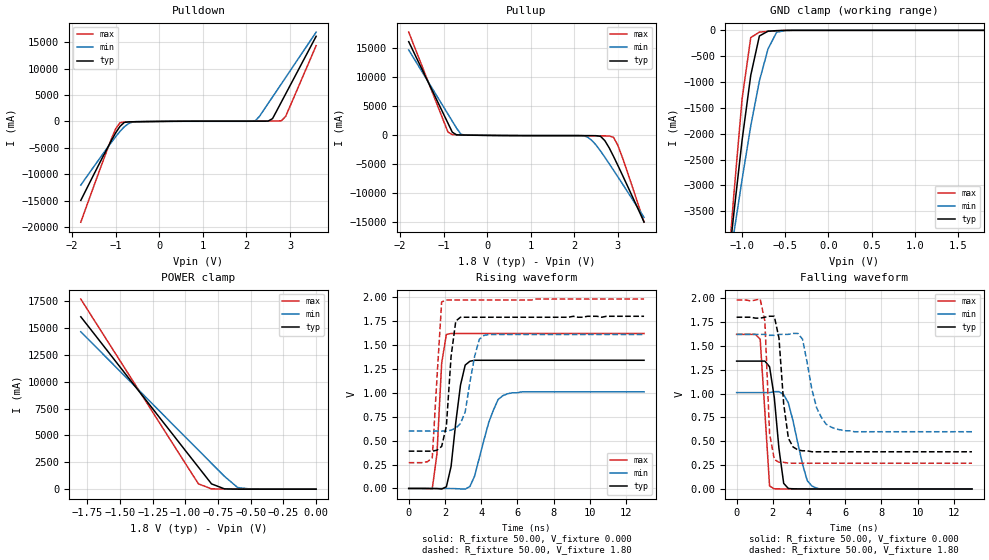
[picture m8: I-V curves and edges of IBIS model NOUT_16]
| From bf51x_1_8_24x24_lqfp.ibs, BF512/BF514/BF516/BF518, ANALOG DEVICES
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|   Model prw1216hcdg_25
[Model]   NOUT_16
Model_type   I/O
Polarity   Non-Inverting
Enable   Active-Low
Vinl =   0.70V
Vinh =   1.00V
Vmeas =   1.20V
Cref =  50.00pF
Rref =   1.00M
Vref =  0.000V
C_comp   5.70pF   5.36pF   6.08pF
[Temperature Range]   25.00   0.12k   -40.00
[Voltage Range]   1.80V   1.62V   1.98V
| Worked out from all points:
|   slope of the pulldown table from 0 to 0.27 V, typ, clamps not added: 13 ohm
|   slope of the pullup table from 0 to 0.27 V, typ, clamps not added: 15 ohm
|   GND clamp passes 1 mA (typ) near -0.48 V on its own axis
|   POWER clamp passes 1 mA (typ) near -0.48 V on its own axis
|   rising waveform, R_fixture 50.00, V_fixture 0.000: 20-80 % time 493ps typ, 917ps min, 282ps max; typ from 0 V to 1.34 V
|   rising waveform, R_fixture 50.00, V_fixture 1.80: 20-80 % time 349ps typ, 559ps min, 327ps max; typ from 0.39 V to 1.8 V
|   falling waveform, R_fixture 50.00, V_fixture 0.000: 20-80 % time 460ps typ, 742ps min, 328ps max; typ from 1.34 V to 0 V
|   falling waveform, R_fixture 50.00, V_fixture 1.80: 20-80 % time 394ps typ, 739ps min, 226ps max; typ from 1.8 V to 0.39 V
[Pulldown]
| voltage   I(typ)   I(min)   I(max)
-1.8V     -14.92A    -12.03A    -19.04A
-1.1V     -3.64A     -3.97A     -3.34A
-1V       -2.16A     -2.89A     -1.41A
-900mV    -930mA     -1.87A     -240mA
-800mV    -180mA     -1A        -130mA
-600mV    -64.01mA   -67.76mA   -92.9mA
2.2V      44.7mA     110mA      77.15mA
2.5V      67.37mA    3.41A      79.69mA
2.6V      540mA      4.63A      85.4mA
2.8V      3.64A      7.08A      110mA
2.9V      5.19A      8.3A       950mA
3.6V      16.09A     16.88A     14.32A
[Pullup]
| voltage   I(typ)   I(min)   I(max)
-1.8V     16.16A     14.74A     17.82A
-900mV    2.11A      3.68A      580mA
-800mV    550mA      2.45A      120mA
-600mV    60.32mA    190mA      79.88mA
-500mV    47.34mA    42.04mA    63.43mA
2.3V      -42.64mA   -280mA     -66.43mA
2.6V      -160mA     -2.69A     -77.37mA
2.7V      -910mA     -3.77A     -89.42mA
2.9V      -3.64A     -6.02A     -350mA
3V        -5.2A      -7.17A     -1.74A
3.1V      -6.8A      -8.32A     -3.75A
3.6V      -14.96A    -14.16A    -14.98A
[GND_clamp]
| voltage   I(typ)   I(min)   I(max)
-1.8V     -14.92A    -12.03A    -19.04A
-1.2V     -5.16A     -5.09A     -5.42A
-1.1V     -3.6A      -3.97A     -3.26A
-1V       -2.12A     -2.88A     -1.32A
-900mV    -870mA     -1.85A     -140mA
-800mV    -110mA     -980mA     -34.24mA
-700mV    -16.23mA   -360mA     -19.78mA
-600mV    -5.92mA    -36.57mA   -8.54mA
-500mV    -1.29mA    -3.72mA    -1.78mA
-400mV    -110uA     -320uA     -100uA
1.8V      320pA      2.9uA      -3.22uA
[POWER_clamp]
| voltage   I(typ)   I(min)   I(max)
-1.8V     16.04A     14.65A     17.69A
-900mV    2.04A      3.63A      490mA
-800mV    490mA      2.4A       29.17mA
-700mV    22.68mA    1.18A      14.92mA
-600mV    5.17mA     150mA      6.63mA
-500mV    1.28mA     9.51mA     1.68mA
0V        320pA      6.02nA     -44.88pA
[Ramp]
| variable   typ   min   max
dV/dt_r   0.81/0.49n   0.61/0.93n   0.98/0.27n
dV/dt_f   0.85/0.36n   0.61/0.72n   1.03/0.21n
R_load = 50.00
[Rising Waveform]
R_fixture = 50.00
V_fixture = 0.000
V_fixture_min = 0.000
V_fixture_max = 0.000
L_fixture = 0.000H
C_fixture = 0.000F
| time   V(typ)   V(min)   V(max)
0s        0V         0V         0V
1.3ns     -560uV     22.46uV    -4.14mV
1.56ns    -1.6mV     3.35uV     360mV
1.82ns    -5.76mV    -120uV     1.31V
2.08ns    17.56mV    -440uV     1.61V
2.34ns    230mV      -1mV       1.62V
2.86ns    1.08V      -4.61mV    1.62V
3.38ns    1.33V      20.08mV    1.62V
5.2ns     1.34V      970mV      1.62V
13ns      1.34V      1.01V      1.62V
[Rising Waveform]
R_fixture = 50.00
V_fixture = 1.80
V_fixture_min = 1.62
V_fixture_max = 1.98
L_fixture = 0.000H
C_fixture = 0.000F
| time   V(typ)   V(min)   V(max)
0s        390mV      600mV      270mV
1.3ns     390mV      600mV      320mV
1.82ns    440mV      600mV      1.95V
2.08ns    650mV      600mV      1.97V
2.34ns    1.38V      610mV      1.97V
2.6ns     1.75V      630mV      1.97V
2.86ns    1.79V      680mV      1.97V
3.64ns    1.79V      1.38V      1.97V
4.16ns    1.79V      1.6V       1.97V
13ns      1.8V       1.61V      1.98V
[Falling Waveform]
R_fixture = 50.00
V_fixture = 0.000
V_fixture_min = 0.000
V_fixture_max = 0.000
L_fixture = 0.000H
C_fixture = 0.000F
| time   V(typ)   V(min)   V(max)
0s        1.34V      1.01V      1.62V
1.3ns     1.34V      1.01V      1.57V
1.82ns    1.28V      1.01V      30.53mV
2.08ns    960mV      1.02V      1.96mV
2.34ns    420mV      1.02V      1.24mV
2.6ns     58.55mV    990mV      690uV
2.86ns    4.89mV     900mV      180uV
3.9ns     320uV      87.7mV     59.09uV
4.42ns    110uV      8.21mV     56.58uV
13ns      25.78uV    26.07uV    7.33uV
[Falling Waveform]
R_fixture = 50.00
V_fixture = 1.80
V_fixture_min = 1.62
V_fixture_max = 1.98
L_fixture = 0.000H
C_fixture = 0.000F
| time   V(typ)   V(min)   V(max)
0s        1.8V       1.62V      1.98V
1.3ns     1.79V      1.62V      1.99V
1.56ns    1.8V       1.62V      1.76V
1.82ns    1.81V      1.61V      580mV
2.08ns    1.81V      1.61V      310mV
2.34ns    1.58V      1.62V      280mV
2.86ns    530mV      1.62V      270mV
3.12ns    440mV      1.63V      270mV
5.2ns     390mV      650mV      270mV
13ns      390mV      600mV      270mV
